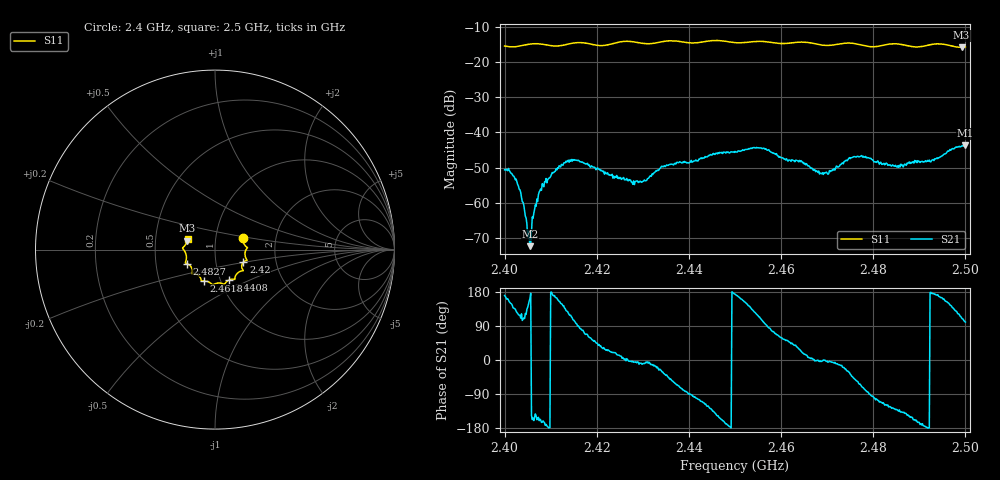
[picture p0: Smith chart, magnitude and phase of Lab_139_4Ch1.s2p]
# Hz S RI R 50
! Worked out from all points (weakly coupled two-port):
!   601 points, 2.4 GHz to 2.5 GHz, reference 50 ohm
!   highest |S21| = -43.62 dB at 2.5 GHz (marker M1); lowest = -72.2 dB at 2.4055 GHz (marker M2)
!   lowest |S11| = -15.8 dB at 2.4992 GHz (marker M3), VSWR 1.39, Z = 36.5 + j3.71 ohm
!   |S11| at or under -10 dB: start of sweep to end of sweep
!   S12 and S22 are empty: the file has one direction only
!   S11 on the Smith chart (normalised r, x): 2.4 GHz: 1.36, +0.17; 2.42 GHz: 1.36, -0.19; 2.4408 GHz: 1.10, -0.38; 2.4618 GHz: 0.84, -0.30; 2.4827 GHz: 0.72, -0.12; 2.5 GHz: 0.73, +0.09
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2.4e9  0.1563 0.0623  -0.00291 0.000502  0 0  0 0
2.403e9  0.1646 0.0267  -0.00086 0.00151  0 0  0 0
2.4055e9  0.1788 0.0129  -0.000232 7.67e-05  0 0  0 0
2.407e9  0.181 0.0108  -0.00105 -0.000437  0 0  0 0
2.4085e9  0.177 0.00571  -0.00163 -0.000492  0 0  0 0
2.413333e9  0.1709 -0.0446  -0.00254 0.00299  0 0  0 0
2.416667e9  0.1782 -0.0594  0.000639 0.00373  0 0  0 0
2.42e9  0.1579 -0.0693  0.00221 0.00216  0 0  0 0
2.428e9  0.1522 -0.1183  0.00205 -0.000212  0 0  0 0
2.433333e9  0.112 -0.1521  0.00267 -0.0011  0 0  0 0
2.440833e9  0.0788 -0.1686  -0.00039 -0.00382  0 0  0 0
2.45e9  0.0279 -0.1858  -0.00536 0.00057  0 0  0 0
2.455833e9  -0.0139 -0.1955  -0.00154 0.00573  0 0  0 0
2.461833e9  -0.0601 -0.1752  0.00274 0.00299  0 0  0 0
2.466667e9  -0.0769 -0.1684  0.00312 0.000268  0 0  0 0
2.469833e9  -0.0938 -0.1437  0.00273 -0.000166  0 0  0 0
2.477e9  -0.1254 -0.1244  0.00199 -0.00405  0 0  0 0
2.482667e9  -0.1573 -0.0778  -0.00168 -0.0032  0 0  0 0
2.483333e9  -0.1614 -0.0762  -0.00193 -0.00286  0 0  0 0
2.492833e9  -0.1777 0.00375  -0.00406 0.000322  0 0  0 0
2.499167e9  -0.1538 0.0495  -0.00231 0.00598  0 0  0 0
2.5e9  -0.1518 0.0617  -0.00116 0.00649  0 0  0 0
